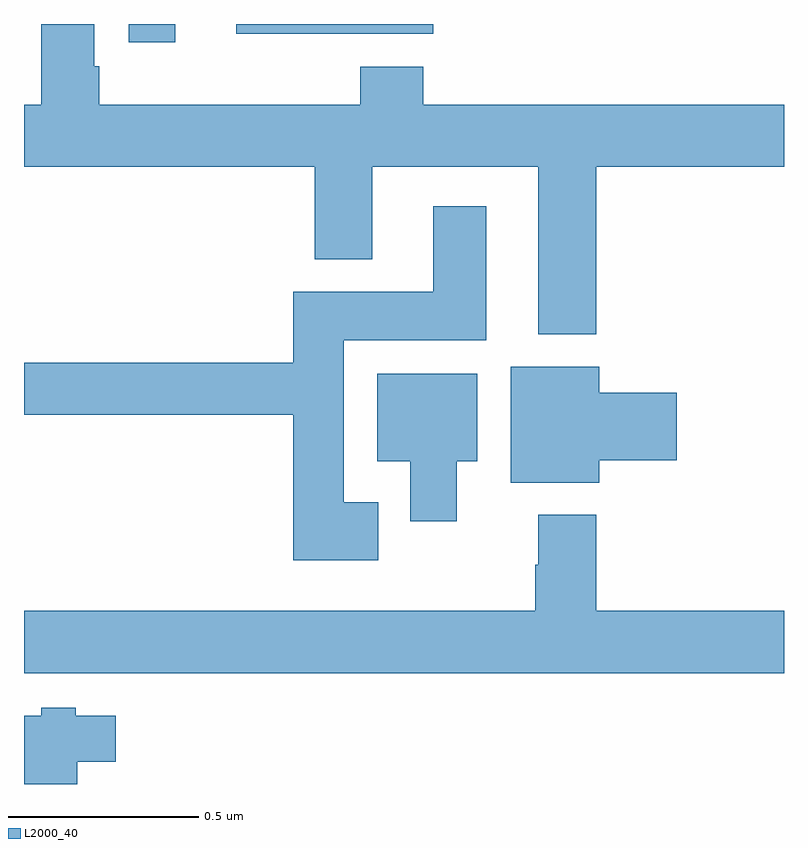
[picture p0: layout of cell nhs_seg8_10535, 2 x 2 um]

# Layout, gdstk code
import gdstk
lib = gdstk.Library(unit=1e-6, precision=1e-09)
def R(c, l, rs):  # rectangles x0, y0, x1, y1
    for r in rs: c.add(gdstk.rectangle(r[:2], r[2:], *l))
def P(c, l, *ps):  # polygons
    for p in ps: c.add(gdstk.Polygon(p, *l))
L2000_40 = (2000, 40)

nhs_seg8_10535 = lib.new_cell('nhs_seg8_10535')
R(nhs_seg8_10535, L2000_40, [(251.276,1092.852,251.398,1092.9), (251.559,1092.875,252.077,1092.9)])
P(nhs_seg8_10535, L2000_40, [(252.506,1092.524),(253,1092.524),(253,1092.688),(252.05,1092.688),(252.05,1092.787),(251.885,1092.787),(251.885,1092.688),(251.198,1092.688),(251.198,1092.789),(251.185,1092.789),(251.185,1092.9),(251.045,1092.9),(251.045,1092.688),(251,1092.688),(251,1092.524),(251.765,1092.524),(251.765,1092.281),(251.917,1092.281),(251.917,1092.524),(252.353,1092.524),(252.353,1092.083),(252.506,1092.083)],
  [(251.932,1091.641),(251.842,1091.641),(251.842,1092.068),(252.217,1092.068),(252.217,1092.421),(252.077,1092.421),(252.077,1092.196),(251.708,1092.196),(251.708,1092.008),(251,1092.008),(251,1091.872),(251.708,1091.872),(251.708,1091.489),(251.932,1091.489)],
  [(252.514,1091.752),(252.718,1091.752),(252.718,1091.93),(252.514,1091.93),(252.514,1091.998),(252.281,1091.998),(252.281,1091.693),(252.514,1091.693)],
  [(252.139,1091.75),(252.193,1091.75),(252.193,1091.98),(251.93,1091.98),(251.93,1091.75),(252.017,1091.75),(252.017,1091.592),(252.139,1091.592)],
  [(253,1091.356),(252.506,1091.356),(252.506,1091.608),(252.353,1091.608),(252.353,1091.477),(252.346,1091.477),(252.346,1091.356),(251,1091.356),(251,1091.192),(253,1091.192)],
  [(251.14,1090.958),(251.242,1090.958),(251.242,1091.08),(251.136,1091.08),(251.136,1091.101),(251.046,1091.101),(251.046,1091.08),(251,1091.08),(251,1090.9),(251.14,1090.9)])

lib.write_gds('nhs_seg8_10535.gds')
